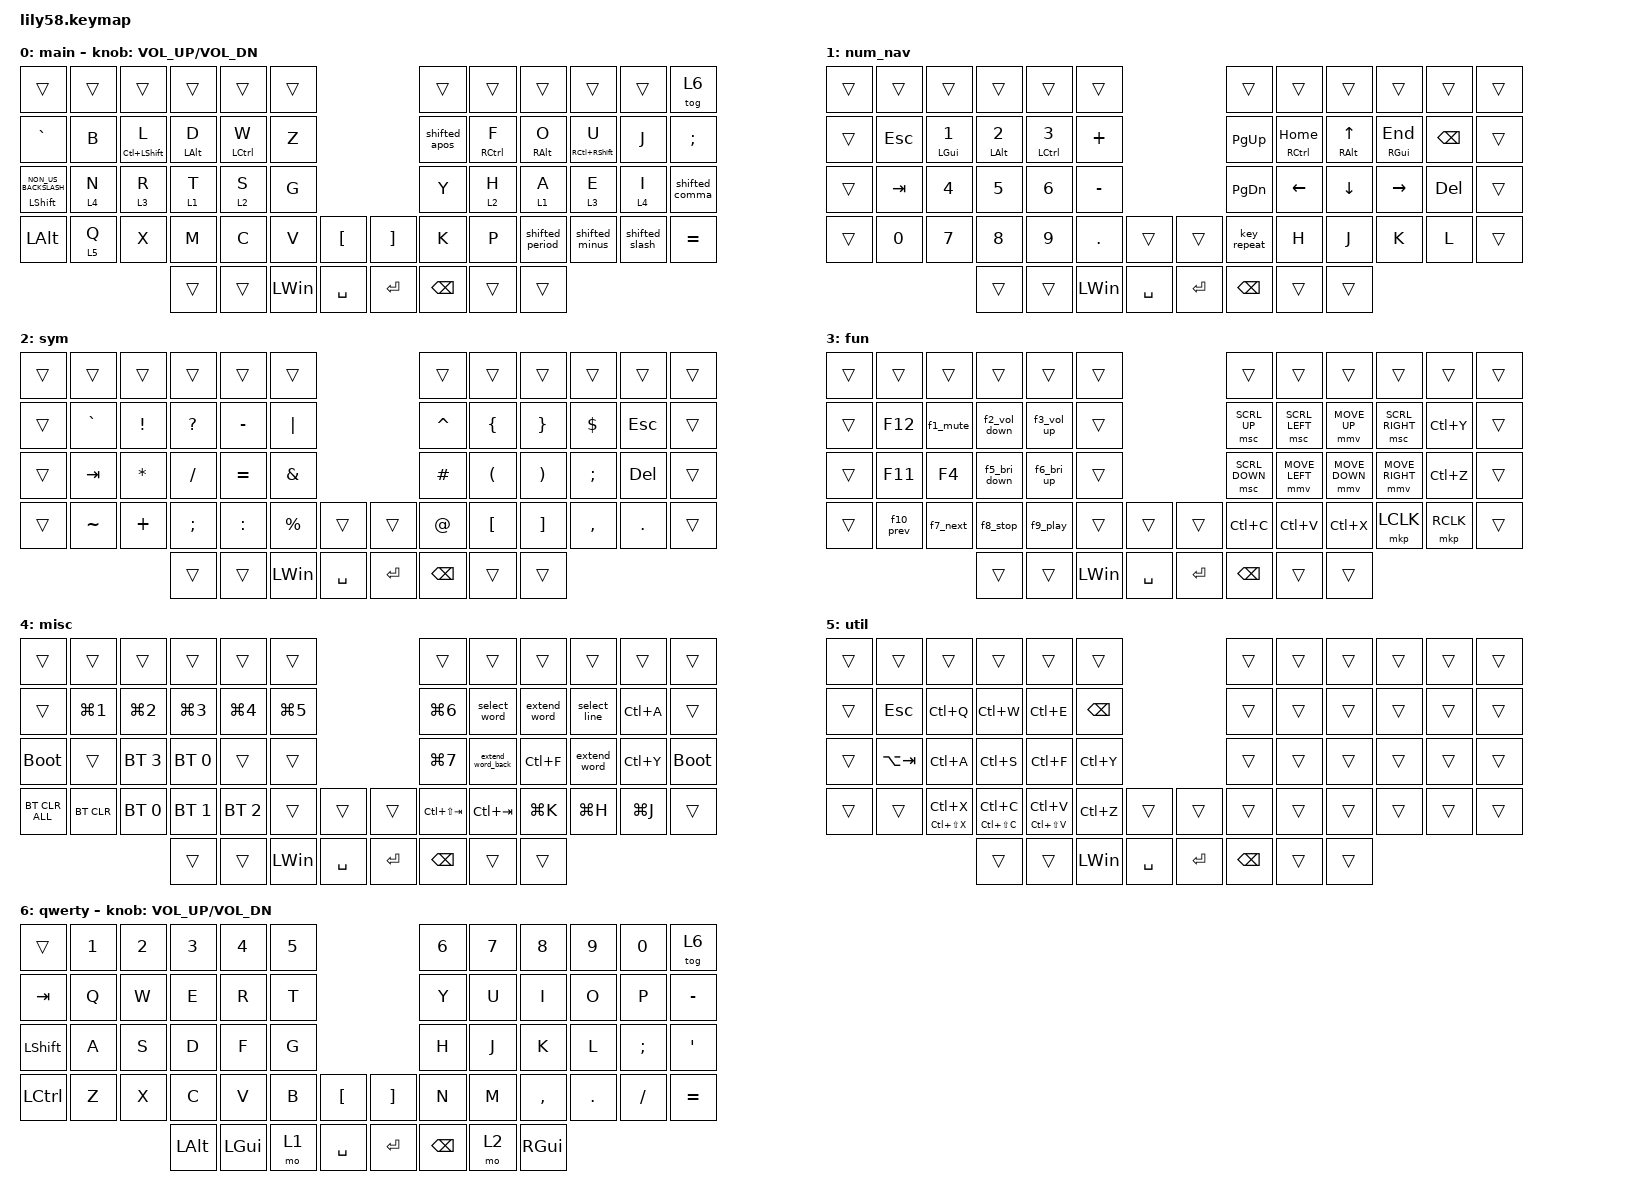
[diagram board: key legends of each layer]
/*
 * Copyright (c) 2020 The ZMK Contributors
 *
 * SPDX-License-Identifier: MIT
 */

#include <behaviors.dtsi>
#include <dt-bindings/zmk/bt.h>
#include <dt-bindings/zmk/keys.h>
#include <dt-bindings/zmk/pointing.h>

/ {
    macros {
        // Word selection macro (Windows/Linux style) - selects word only (like double-click)

        select_word: select_word {
            compatible = "zmk,behavior-macro";
            label = "SELECT_WORD";
            #binding-cells = <0>;
            bindings =
                <&macro_press>,
                <&kp LCTRL>,
                <&macro_tap>,
                <&kp LEFT>,
                <&macro_press>,
                <&kp LSHFT>,
                <&macro_tap>,
                <&kp RIGHT>,
                <&macro_release>,
                <&kp LSHFT>,
                <&macro_release>,
                <&kp LCTRL>;
        };

        // Line selection macro (Windows/Linux style)

        select_line: select_line {
            compatible = "zmk,behavior-macro";
            label = "SELECT_LINE";
            #binding-cells = <0>;
            bindings =
                <&macro_tap>,
                <&kp HOME>,
                <&macro_press>,
                <&kp LSHFT>,
                <&macro_tap>,
                <&kp END>,
                <&macro_release>,
                <&kp LSHFT>;
        };

        // Mac version - word selection

        select_word_mac: select_word_mac {
            compatible = "zmk,behavior-macro";
            label = "SELECT_WORD_MAC";
            #binding-cells = <0>;
            bindings =
                <&macro_press>,
                <&kp LALT>,
                <&macro_tap>,
                <&kp RIGHT>,
                <&macro_tap>,
                <&kp LEFT>,
                <&macro_press>,
                <&kp LSHFT>,
                <&macro_tap>,
                <&kp RIGHT>,
                <&macro_release>,
                <&kp LSHFT>,
                <&macro_release>,
                <&kp LALT>;
        };

        // Mac version - line selection

        select_line_mac: select_line_mac {
            compatible = "zmk,behavior-macro";
            label = "SELECT_LINE_MAC";
            #binding-cells = <0>;
            bindings =
                <&macro_press>,
                <&kp LCMD>,
                <&macro_tap>,
                <&kp LEFT>,
                <&macro_press>,
                <&kp LSHFT>,
                <&macro_tap>,
                <&kp RIGHT>,
                <&macro_release>,
                <&kp LSHFT>,
                <&macro_release>,
                <&kp LCMD>;
        };

        // Extend word selection forward (for repeated presses)

        extend_word: extend_word {
            compatible = "zmk,behavior-macro";
            label = "EXTEND_WORD";
            #binding-cells = <0>;
            bindings =
                <&macro_press>,
                <&kp LCTRL>,
                <&macro_press>,
                <&kp LSHFT>,
                <&macro_tap>,
                <&kp RIGHT>,
                <&macro_release>,
                <&kp LSHFT>,
                <&macro_release>,
                <&kp LCTRL>;
        };

        // Extend word selection backward

        extend_word_back: extend_word_back {
            compatible = "zmk,behavior-macro";
            label = "EXTEND_WORD_BACK";
            #binding-cells = <0>;
            bindings =
                <&macro_press>,
                <&kp LCTRL>,
                <&macro_press>,
                <&kp LSHFT>,
                <&macro_tap>,
                <&kp LEFT>,
                <&macro_release>,
                <&kp LSHFT>,
                <&macro_release>,
                <&kp LCTRL>;
        };
    };

    behaviors {
        hm: homerow_mods {
            compatible = "zmk,behavior-hold-tap";
            label = "HOMEROW_MODS";
            #binding-cells = <2>;
            tapping-term-ms = <400>;                    // Very long hold time - prioritizes tap
            quick-tap-ms = <250>;                       // Long quick-tap window
            flavor = "tap-preferred";                   // Always favor tap when uncertain
            bindings = <&kp>, <&kp>;

            require-prior-idle-ms = <200>;              // Must be idle before hold activates
            hold-trigger-key-positions = <>;           // Empty = no positional restrictions
        };

        // Shift optimized for capitalizing words after spaces

        quick_shift: quick_shift {
            compatible = "zmk,behavior-hold-tap";
            label = "QUICK_SHIFT";
            #binding-cells = <2>;
            tapping-term-ms = <120>;                    // Short for shift responsiveness
            quick-tap-ms = <100>;                       // Shorter to allow quick repeats
            flavor = "hold-preferred";                  // Prefer hold for reliable shift
            bindings = <&kp>, <&kp>;

            require-prior-idle-ms = <50>;               // Very short idle - allow space+shift combo
        };

        // Layer taps optimized for essential layers 1, 2, 3, & 5

        lt_essential: layer_tap_essential {
            compatible = "zmk,behavior-hold-tap";
            label = "LAYER_TAP_ESSENTIAL";
            #binding-cells = <2>;
            tapping-term-ms = <180>;                    // Shorter for layers 1,2,3,5 - quick access
            quick-tap-ms = <120>;                       // Shorter quick-tap for faster layer access
            flavor = "balanced";                        // Balanced for essential functions
            bindings = <&mo>, <&kp>;

            require-prior-idle-ms = <80>;               // Shorter idle for responsive layer access
            hold-trigger-on-release;
        };

        // Layer taps for less critical layer 4

        lt_secondary: layer_tap_secondary {
            compatible = "zmk,behavior-hold-tap";
            label = "LAYER_TAP_SECONDARY";
            #binding-cells = <2>;
            tapping-term-ms = <350>;                    // Longer for secondary layers
            quick-tap-ms = <200>;                       // Longer quick-tap window
            flavor = "tap-preferred";                   // Favor tap for alphabet keys
            bindings = <&mo>, <&kp>;

            require-prior-idle-ms = <150>;              // Moderate idle requirement
            hold-trigger-on-release;
        };

        // Fast tap-dance behaviors - even shorter timing for F-keys

        f10_prev: f10_prev {
            compatible = "zmk,behavior-tap-dance";
            label = "F10_PREV";
            #binding-cells = <0>;
            tapping-term-ms = <100>;                    // Shorter for faster F-key access
            bindings = <&kp F10>, <&kp C_PREV>;
        };

        f1_mute: f1_mute {
            compatible = "zmk,behavior-tap-dance";
            label = "F1_MUTE";
            #binding-cells = <0>;
            tapping-term-ms = <100>;
            bindings = <&kp F1>, <&kp C_MUTE>;
        };

        f2_vol_down: f2_vol_down {
            compatible = "zmk,behavior-tap-dance";
            label = "F2_VOL_DOWN";
            #binding-cells = <0>;
            tapping-term-ms = <100>;
            bindings = <&kp F2>, <&kp C_VOL_DN>;
        };

        f3_vol_up: f3_vol_up {
            compatible = "zmk,behavior-tap-dance";
            label = "F3_VOL_UP";
            #binding-cells = <0>;
            tapping-term-ms = <100>;
            bindings = <&kp F3>, <&kp C_VOL_UP>;
        };

        f5_bri_down: f5_bri_down {
            compatible = "zmk,behavior-tap-dance";
            label = "F5_BRI_DOWN";
            #binding-cells = <0>;
            tapping-term-ms = <100>;
            bindings = <&kp F5>, <&kp C_BRI_DN>;
        };

        f6_bri_up: f6_bri_up {
            compatible = "zmk,behavior-tap-dance";
            label = "F6_BRI_UP";
            #binding-cells = <0>;
            tapping-term-ms = <100>;
            bindings = <&kp F6>, <&kp C_BRI_UP>;
        };

        f7_next: f7_next {
            compatible = "zmk,behavior-tap-dance";
            label = "F7_NEXT";
            #binding-cells = <0>;
            tapping-term-ms = <100>;
            bindings = <&kp F7>, <&kp C_NEXT>;
        };

        f8_stop: f8_stop {
            compatible = "zmk,behavior-tap-dance";
            label = "F8_STOP";
            #binding-cells = <0>;
            tapping-term-ms = <100>;
            bindings = <&kp F8>, <&kp C_STOP>;
        };

        f9_play: f9_play {
            compatible = "zmk,behavior-tap-dance";
            label = "F9_PLAY";
            #binding-cells = <0>;
            tapping-term-ms = <100>;
            bindings = <&kp F9>, <&kp C_PLAY_PAUSE>;
        };

        shifted_apos: shifted_apos {
            compatible = "zmk,behavior-mod-morph";
            label = "SHIFTED_APOS";
            #binding-cells = <0>;
            bindings = <&kp SQT>, <&kp UNDER>;

            mods = <(MOD_LSFT|MOD_RSFT)>;
        };

        shifted_comma: shifted_comma {
            compatible = "zmk,behavior-mod-morph";
            label = "SHIFTED_COMMA";
            #binding-cells = <0>;
            bindings = <&kp COMMA>, <&kp QMARK>;

            mods = <(MOD_LSFT|MOD_RSFT)>;
        };

        shifted_period: shifted_period {
            compatible = "zmk,behavior-mod-morph";
            label = "SHIFTED_PERIOD";
            #binding-cells = <0>;
            bindings = <&kp PERIOD>, <&kp GT>;

            mods = <(MOD_LSFT|MOD_RSFT)>;
        };

        shifted_minus: shifted_minus {
            compatible = "zmk,behavior-mod-morph";
            label = "SHIFTED_MINUS";
            #binding-cells = <0>;
            bindings = <&kp MINUS>, <&kp DQT>;

            mods = <(MOD_LSFT|MOD_RSFT)>;
        };

        shifted_slash: shifted_slash {
            compatible = "zmk,behavior-mod-morph";
            label = "SHIFTED_SLASH";
            #binding-cells = <0>;
            bindings = <&kp FSLH>, <&kp LT>;

            mods = <(MOD_LSFT|MOD_RSFT)>;
        };

        word_select_mode: word_select_mode {
            compatible = "zmk,behavior-mod-morph";
            label = "WORD_SELECT_MODE";
            #binding-cells = <0>;
            bindings = <&select_word>, <&select_line>;

            mods = <(MOD_LSFT|MOD_RSFT)>;
        };

        word_extend: word_extend {
            compatible = "zmk,behavior-tap-dance";
            label = "WORD_EXTEND";
            #binding-cells = <0>;
            tapping-term-ms = <200>;
            bindings = <&select_word>, <&extend_word>;
        };
    };

    keymap {
        compatible = "zmk,keymap";

        main {
            // ------------------------------------------------------------------------------------------------------------
            // |  `    |  1  |  2  |  3   |  4   |  5   |                   |  6   |  7    |  8    |  9   |   0   |  [ ]  |
            // |       |  B  |  L  |  D   |  W   |  Z   |                   |  '   |  F    |  O    |  U   |   J   |  ; =  |
            // |       |  N  |  R  |  T   |  S   |  G   |                   |  Y   |  H    |  A    |  E   |   I   |   ,   |
            // |       |  Q  |  X  |  M   |  C   |  V   |   "["  |  |  "]"  |  K   |  P    |  .    |  -   |   /   |       |
            //                     |      |      |      |  LWIN  |  | ENTER |      |       |       |

            bindings = <
&trans                                    &trans             &trans                &trans             &trans             &trans                           &trans         &trans             &trans             &trans                 &trans             &tog 6
&kp GRAVE                                 &kp B              &hm LC(LEFT_SHIFT) L  &hm LEFT_ALT D     &hm LCTRL W        &kp Z                            &shifted_apos  &hm RCTRL F        &hm RIGHT_ALT O    &hm RC(RIGHT_SHIFT) U  &kp J              &kp SEMICOLON
&quick_shift LEFT_SHIFT NON_US_BACKSLASH  &lt_secondary 4 N  &lt_essential 3 R     &lt_essential 1 T  &lt_essential 2 S  &kp G                            &kp Y          &lt_essential 2 H  &lt_essential 1 A  &lt_essential 3 E      &lt_secondary 4 I  &shifted_comma
&kp LEFT_ALT                              &lt_essential 5 Q  &kp X                 &kp M              &kp C              &kp V     &kp LBKT     &kp RBKT  &kp K          &kp P              &shifted_period    &shifted_minus         &shifted_slash     &kp EQUAL
                                                                                   &trans             &trans             &kp LWIN  &kp SPACE    &kp RET   &kp BSPC       &trans             &trans
            >;

            sensor-bindings = <&inc_dec_kp C_VOL_UP C_VOL_DN>;
        };

        num_nav {
            bindings = <
&trans  &trans        &trans                 &trans                 &trans                     &trans                            &trans         &trans          &trans                  &trans             &trans         &trans
&trans  &kp ESC       &hm LEFT_GUI NUMBER_1  &hm LEFT_ALT NUMBER_2  &hm LEFT_CONTROL NUMBER_3  &kp PLUS                          &kp PAGE_UP    &hm RCTRL HOME  &hm RIGHT_ALT UP_ARROW  &hm RIGHT_GUI END  &kp BACKSPACE  &trans
&trans  &kp TAB       &kp NUMBER_4           &kp NUMBER_5           &kp NUMBER_6               &kp MINUS                         &kp PAGE_DOWN  &kp LEFT_ARROW  &kp DOWN                &kp RIGHT          &kp DELETE     &trans
&trans  &kp NUMBER_0  &kp NUMBER_7           &kp NUMBER_8           &kp NUMBER_9               &kp PERIOD  &trans       &trans   &key_repeat    &kp H           &kp J                   &kp K              &kp L          &trans
                                             &trans                 &trans                     &kp LWIN    &kp SPACE    &kp RET  &kp BSPC       &trans          &trans
            >;
        };

        sym {
            bindings = <
&trans  &trans     &trans        &trans         &trans     &trans                           &trans     &trans            &trans           &trans     &trans      &trans
&trans  &kp GRAVE  &kp EXCL      &kp QMARK      &kp MINUS  &kp PIPE                         &kp CARET  &kp LEFT_BRACE    &kp RIGHT_BRACE  &kp DLLR   &kp ESCAPE  &trans
&trans  &kp TAB    &kp ASTERISK  &kp FSLH       &kp EQUAL  &kp AMPS                         &kp HASH   &kp LPAR          &kp RPAR         &kp SEMI   &kp DELETE  &trans
&trans  &kp TILDE  &kp PLUS      &kp SEMICOLON  &kp COLON  &kp PRCNT  &trans       &trans   &kp AT     &kp LEFT_BRACKET  &kp RBKT         &kp COMMA  &kp DOT     &trans
                                 &trans         &trans     &kp LWIN   &kp SPACE    &kp RET  &kp BSPC   &trans            &trans
            >;
        };

        fun {
            bindings = <
&trans  &trans     &trans    &trans        &trans      &trans                          &trans          &trans          &trans          &trans           &trans     &trans
&trans  &kp F12    &f1_mute  &f2_vol_down  &f3_vol_up  &trans                          &msc SCRL_UP    &msc SCRL_LEFT  &mmv MOVE_UP    &msc SCRL_RIGHT  &kp LC(Y)  &trans
&trans  &kp F11    &kp F4    &f5_bri_down  &f6_bri_up  &trans                          &msc SCRL_DOWN  &mmv MOVE_LEFT  &mmv MOVE_DOWN  &mmv MOVE_RIGHT  &kp LC(Z)  &trans
&trans  &f10_prev  &f7_next  &f8_stop      &f9_play    &trans    &trans       &trans   &kp LC(C)       &kp LC(V)       &kp LC(X)       &mkp LCLK        &mkp RCLK  &trans
                             &trans        &trans      &kp LWIN  &kp SPACE    &kp RET  &kp BSPC        &trans          &trans
            >;
        };

        misc {
            bindings = <
&trans          &trans            &trans            &trans            &trans            &trans                                  &trans            &trans             &trans        &trans        &trans     &trans
&trans          &kp LG(NUMBER_1)  &kp LG(NUMBER_2)  &kp LG(NUMBER_3)  &kp LG(NUMBER_4)  &kp LG(NUMBER_5)                        &kp LG(NUMBER_6)  &select_word       &extend_word  &select_line  &kp LC(A)  &trans
&bootloader     &trans            &bt BT_SEL 3      &bt BT_SEL 0      &trans            &trans                                  &kp LG(NUMBER_7)  &extend_word_back  &kp LC(F)     &extend_word  &kp LC(Y)  &bootloader
&bt BT_CLR_ALL  &bt BT_CLR        &bt BT_SEL 0      &bt BT_SEL 1      &bt BT_SEL 2      &trans            &trans       &trans   &kp LC(LS(TAB))   &kp LC(TAB)        &kp LG(K)     &kp LG(H)     &kp LG(J)  &trans
                                                    &trans            &trans            &kp LWIN          &kp SPACE    &kp RET  &kp BSPC          &trans             &trans
            >;
        };

        util {
            bindings = <
&trans  &trans       &trans               &trans               &trans               &trans                               &trans    &trans  &trans  &trans  &trans  &trans
&trans  &kp ESCAPE   &kp LC(Q)            &kp LC(W)            &kp LC(E)            &kp BACKSPACE                        &trans    &trans  &trans  &trans  &trans  &trans
&trans  &kp LA(TAB)  &kp LC(A)            &kp LC(S)            &kp LC(F)            &kp LC(Y)                            &trans    &trans  &trans  &trans  &trans  &trans
&trans  &trans       &mt LC(LS(X)) LC(X)  &mt LC(LS(C)) LC(C)  &mt LC(LS(V)) LC(V)  &kp LC(Z)      &trans       &trans   &trans    &trans  &trans  &trans  &trans  &trans
                                          &trans               &trans               &kp LWIN       &kp SPACE    &kp RET  &kp BSPC  &trans  &trans
            >;
        };

        qwerty {
            // ------------------------------------------------------------------------------------------------------------
            // |  `    |  1  |  2  |  3   |  4   |  5   |                   |  6   |  7    |  8    |  9   |   0   | TOGGLE|
            // | TAB   |  Q  |  W  |  E   |  R   |  T   |                   |  Y   |  U    |  I    |  O   |   P   |  - _  |
            // | SHIFT |  A  |  S  |  D   |  F   |  G   |                   |  H   |  J    |  K    |  L   |   ;   |  ' "  |
            // | CTRL  |  Z  |  X  |  C   |  V   |  B   |   "["  |  |  "]"  |  N   |  M    |  , <  |  . > |   / ? |  = +  |
            //                     | ALT  | GUI  | LOWER|  SPACE |  | ENTER | BKSP | RAISE | GUI   |

            bindings = <
&trans     &kp N1  &kp N2    &kp N3    &kp N4    &kp N5                            &kp N6    &kp N7     &kp N8     &kp N9   &kp N0    &tog 6
&kp TAB    &kp Q   &kp W     &kp E     &kp R     &kp T                             &kp Y     &kp U      &kp I      &kp O    &kp P     &kp MINUS
&kp LSHFT  &kp A   &kp S     &kp D     &kp F     &kp G                             &kp H     &kp J      &kp K      &kp L    &kp SEMI  &kp SQT
&kp LCTRL  &kp Z   &kp X     &kp C     &kp V     &kp B     &kp LBKT     &kp RBKT   &kp N     &kp M      &kp COMMA  &kp DOT  &kp FSLH  &kp EQUAL
                             &kp LALT  &kp LGUI  &mo 1     &kp SPACE    &kp RET    &kp BSPC  &mo 2      &kp RGUI
            >;

            sensor-bindings = <&inc_dec_kp C_VOL_UP C_VOL_DN>;
        };
    };
};
